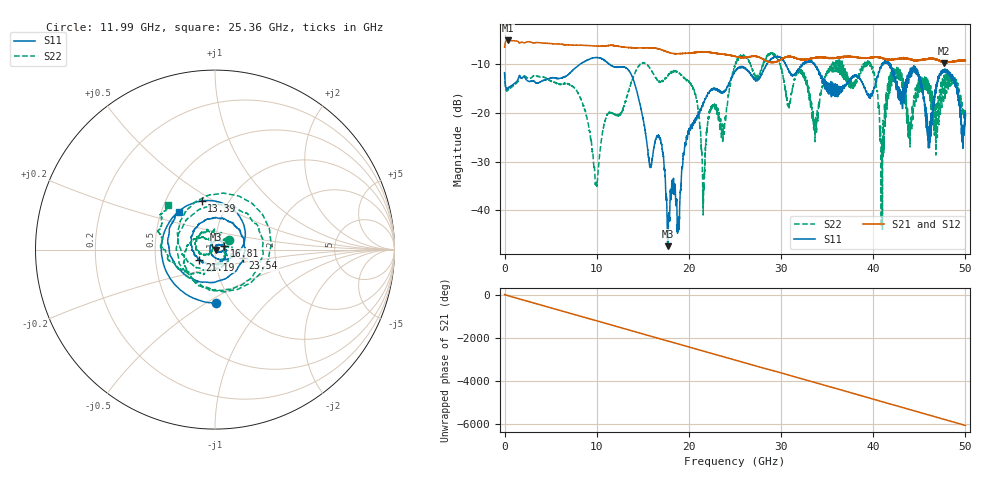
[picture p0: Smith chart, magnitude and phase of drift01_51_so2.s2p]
!Created with skrf (http://scikit-rf.org).
# Hz S RI R 50.0
!freq ReS11 ImS11 ReS21 ImS21 ReS12 ImS12 ReS22 ImS22
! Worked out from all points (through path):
!   10001 points, 300 kHz to 50 GHz, reference 50 ohm
!   highest |S21| = -5.05 dB at 325.3 MHz (marker M1); lowest = -9.7 dB at 47.67 GHz (marker M2)
!   group delay of S21, straight-line fit = 336 ps
!   lowest |S11| = -47.4 dB at 17.69 GHz (marker M3), VSWR 1.01, Z = 50.4 - j0.12 ohm
!   |S11| at or under -10 dB: start of sweep to 8.155 GHz; 11.43 GHz to 28.44 GHz (17.01 GHz wide, 85.4 % of centre); 41.91 GHz to end of sweep (the widest 3 of 19)
!   |S22| runs from -44.0 to -7.6 dB; largest |S21 - S12| = 0.016
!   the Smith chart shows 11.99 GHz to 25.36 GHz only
!   S11 on the Smith chart (normalised r, x): 11.99 GHz: 0.84, -0.55; 13.39 GHz: 0.75, +0.44; 16.81 GHz: 1.11, +0.04; 21.19 GHz: 0.83, -0.09; 23.54 GHz: 1.36, -0.13; 25.36 GHz: 0.62, +0.28
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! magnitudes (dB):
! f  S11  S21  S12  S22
! 300 kHz  -11.7  -6.4  -6.5  -11.7
! 325.3 MHz  -15.0  -5.1  -5.1  -15.4
! 8.335 GHz  -9.8  -6.0  -6.0  -17.5
! 9.935 GHz  -8.6  -6.2  -6.2  -34.4
! 11.99 GHz  -10.6  -6.2  -6.2  -20.4
! 13.39 GHz  -11.0  -6.5  -6.5  -15.8
! 15.77 GHz  -30.8  -6.6  -6.6  -10.8
! 16.67 GHz  -24.6  -6.8  -6.8  -13.4
! 16.81 GHz  -25.2  -6.9  -6.8  -13.4
! 17.69 GHz  -47.4  -7.4  -7.4  -12.3
! 21.19 GHz  -19.6  -7.4  -7.4  -22.9
! 21.58 GHz  -17.8  -7.4  -7.4  -37.0
! 23.54 GHz  -15.8  -7.8  -7.8  -24.4
! 25 GHz  -11.4  -8.3  -8.4  -10.4
! 25.36 GHz  -10.8  -8.5  -8.5  -8.9
! 33.34 GHz  -9.5  -8.8  -8.7  -20.0
! 39.49 GHz  -16.5  -8.6  -8.6  -10.1
! 40.94 GHz  -10.0  -8.7  -8.7  -26.7
! 41.67 GHz  -9.9  -8.9  -9.0  -15.3
! 46.06 GHz  -26.4  -8.8  -8.7  -14.4
! 47.67 GHz  -11.3  -9.7  -9.7  -14.5
! 50 GHz  -21.1  -9.2  -9.2  -19.9
